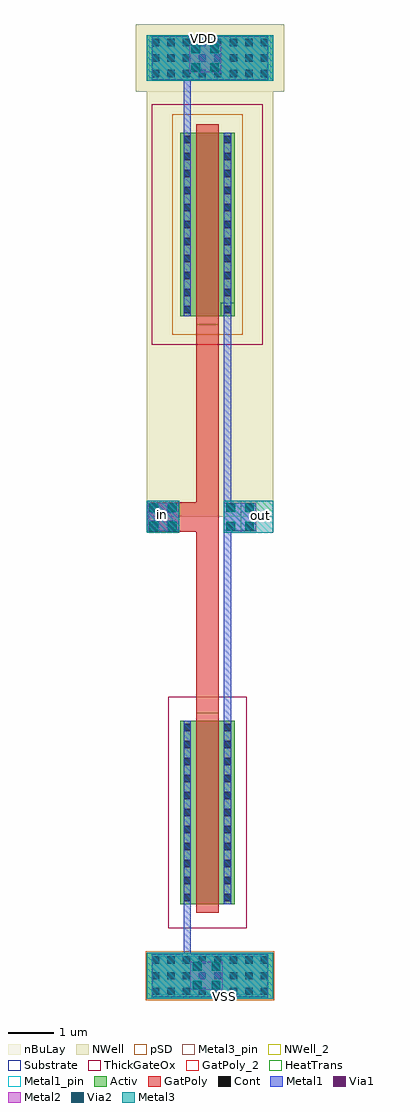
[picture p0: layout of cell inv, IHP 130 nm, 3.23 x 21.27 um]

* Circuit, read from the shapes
.subckt inv VDD VSS in out
XM1 out in VSS VSS sg13_hv_nmos w=4u l=0.5u
XM2 out in VDD VDD sg13_hv_pmos w=4u l=0.5u
.ends

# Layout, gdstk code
import gdstk
lib = gdstk.Library(unit=1e-6, precision=1e-09)
def R(c, l, rs):  # rectangles x0, y0, x1, y1
    for r in rs: c.add(gdstk.rectangle(r[:2], r[2:], *l))
def A(c, l, x, y, w, h, nx, ny, dx, dy):  # array of equal rectangles
    R(c, l, [(x+i*dx, y+j*dy, x+i*dx+w, y+j*dy+h) for i in range(nx) for j in range(ny)])
Activ = (1, 0)
GatPoly = (5, 0)
GatPoly_2 = (5, 2)
Cont = (6, 0)
Metal1 = (8, 0)
Metal1_pin = (8, 2)
Metal2 = (10, 0)
pSD = (14, 0)
Via1 = (19, 0)
Via2 = (29, 0)
Metal3 = (30, 0)
Metal3_pin = (30, 2)
NWell = (31, 0)
NWell_2 = (31, 2)
nBuLay = (32, 0)
Substrate = (40, 0)
ThickGateOx = (44, 0)
HeatTrans = (51, 0)

nmoshv_1 = lib.new_cell('nmosHV$1')
R(nmoshv_1, Activ, [(0,0,0.3,0.3), (0,0,1.18,4), (0.88,0,1.18,0.3)])
R(nmoshv_1, GatPoly, [(0.34,-0.18,0.84,4.18)])
R(nmoshv_1, GatPoly_2, [(0.34,-0.18,0.84,4.18)])
A(nmoshv_1, Cont, 0.07, 0.07, 0.16, 0.16, 1, 11, 0, 0.37)
A(nmoshv_1, Cont, 0.95, 0.07, 0.16, 0.16, 1, 11, 0, 0.37)
R(nmoshv_1, Metal1, [(0.07,0,0.23,4), (0.95,0,1.11,4)])
R(nmoshv_1, Metal1_pin, [(0.07,0,0.23,4), (0.95,0,1.11,4)])
R(nmoshv_1, ThickGateOx, [(-0.27,-0.52,1.45,4.52)])
R(nmoshv_1, HeatTrans, [(0.34,-0.18,0.84,4.18)])
nmoshv_1.add(gdstk.Label('nmosHV', (0.59,2), layer=63, texttype=0))
nmoshv_1.add(gdstk.Label('nmosHV', (0.59,2), layer=51, texttype=0))

pmoshv_1 = lib.new_cell('pmosHV$1')
R(pmoshv_1, Activ, [(0,0,0.3,0.3), (0,0,1.18,4), (0.88,0,1.18,0.3)])
R(pmoshv_1, GatPoly, [(0.34,-0.18,0.84,4.18)])
R(pmoshv_1, GatPoly_2, [(0.34,-0.18,0.84,4.18)])
A(pmoshv_1, Cont, 0.07, 0.07, 0.16, 0.16, 1, 11, 0, 0.37)
A(pmoshv_1, Cont, 0.95, 0.07, 0.16, 0.16, 1, 11, 0, 0.37)
R(pmoshv_1, Metal1, [(0.07,0,0.23,4), (0.95,0,1.11,4)])
R(pmoshv_1, Metal1_pin, [(0.07,0,0.23,4), (0.95,0,1.11,4)])
R(pmoshv_1, pSD, [(-0.18,-0.4,1.36,4.4)])
R(pmoshv_1, NWell, [(-0.62,-0.62,1.8,4.62)])
R(pmoshv_1, Substrate, [(0.88,0,1.18,0.3)])
R(pmoshv_1, ThickGateOx, [(-0.62,-0.62,1.8,4.62)])
R(pmoshv_1, HeatTrans, [(0.34,-0.18,0.84,4.18)])
pmoshv_1.add(gdstk.Label('pmosHV', (0.59,2), layer=63, texttype=0))
pmoshv_1.add(gdstk.Label('pmos', (0.59,2), layer=51, texttype=0))

ntap1_2 = lib.new_cell('ntap1$2')
R(ntap1_2, Activ, [(0,0,2.75,1)])
A(ntap1_2, Cont, 0.105, 0.08, 0.16, 0.16, 8, 3, 0.34, 0.34)
R(ntap1_2, Metal1, [(0.105,0.03,2.645,0.97)])
R(ntap1_2, Metal1_pin, [(0.105,0.03,2.645,0.97), (0.105,0.08,2.645,0.92)])
R(ntap1_2, NWell, [(-0.24,-0.24,2.99,1.24), (0,0,2.75,1)])
R(ntap1_2, NWell_2, [(0,0,2.75,1)])
R(ntap1_2, nBuLay, [(-0.24,-0.24,2.99,1.24)])
ntap1_2.add(gdstk.Label('well', (1.375,0.01), layer=31, texttype=0))
ntap1_2.add(gdstk.Label('well', (1.375,0.01), layer=63, texttype=0))

ptap1_1 = lib.new_cell('ptap1$1')
R(ptap1_1, Activ, [(0,0,2.75,1)])
A(ptap1_1, Cont, 0.105, 0.08, 0.16, 0.16, 8, 3, 0.34, 0.34)
R(ptap1_1, Metal1, [(0.105,0.03,2.645,0.97), (0.105,0.08,2.645,0.92)])
R(ptap1_1, Metal1_pin, [(0.105,0.08,2.645,0.92)])
R(ptap1_1, pSD, [(-0.03,-0.03,2.78,1.03)])
R(ptap1_1, Substrate, [(0,0,2.75,1)])
ptap1_1.add(gdstk.Label('sub!', (1.375,0.01), layer=63, texttype=0))
ptap1_1.add(gdstk.Label('sub!', (1.375,0.01), layer=40, texttype=0))

via_stack_9 = lib.new_cell('via_stack$9')
R(via_stack_9, GatPoly, [(-0.32,-0.32,0.32,0.32)])
R(via_stack_9, Cont, [(-0.25,-0.25,-0.09,-0.09), (0.09,-0.25,0.25,-0.09), (-0.25,0.09,-0.09,0.25), (0.09,0.09,0.25,0.25)])
R(via_stack_9, Metal1, [(-0.35,-0.31,0.35,0.31)])
R(via_stack_9, Metal2, [(-0.35,-0.305,0.35,0.305)])
R(via_stack_9, Via1, [(-0.3,-0.3,-0.11,-0.11), (0.11,-0.3,0.3,-0.11), (-0.3,0.11,-0.11,0.3), (0.11,0.11,0.3,0.3)])
R(via_stack_9, Via2, [(-0.3,-0.3,-0.11,-0.11), (0.11,-0.3,0.3,-0.11), (-0.3,0.11,-0.11,0.3), (0.11,0.11,0.3,0.3)])
R(via_stack_9, Metal3, [(-0.35,-0.305,0.35,0.305)])

via_stack_20 = lib.new_cell('via_stack$20')
R(via_stack_20, Metal1, [(-0.35,-0.31,0.35,0.31)])
R(via_stack_20, Metal2, [(-0.35,-0.305,0.35,0.305)])
R(via_stack_20, Via1, [(-0.3,-0.3,-0.11,-0.11), (0.11,-0.3,0.3,-0.11), (-0.3,0.11,-0.11,0.3), (0.11,0.11,0.3,0.3)])
R(via_stack_20, Via2, [(-0.3,-0.3,-0.11,-0.11), (0.11,-0.3,0.3,-0.11), (-0.3,0.11,-0.11,0.3), (0.11,0.11,0.3,0.3)])
R(via_stack_20, Metal3, [(-0.35,-0.305,0.35,0.305)])

inv = lib.new_cell('inv')
R(inv, GatPoly, [(1.07,5.48,1.57,14.495), (0.03,9.68,1.07,10.32)])
R(inv, Metal1, [(0.8,-0.25,0.96,5.555), (1.68,1.555,1.84,18.37), (0.8,14.37,0.96,20.25)])
R(inv, Metal3, [(0,-0.5,2.75,0.5), (0,9.65,0.7,10.35), (0,19.5,2.75,20.5)])
R(inv, Metal3_pin, [(0,-0.5,2.75,0.5), (0,9.65,0.7,10.35), (2.05,9.65,2.75,10.35), (0,19.5,2.75,20.5)])
R(inv, NWell, [(0,10,2.75,20)])
inv.add(gdstk.FlexPath([(1.68,10),(2.75,10),(2.75,10)], 0.7, ends="flush", simple_path=True, layer=30, datatype=0))  # Metal3
inv.add(gdstk.Reference(nmoshv_1, (0.73,1.555)))
inv.add(gdstk.Reference(pmoshv_1, (0.73,14.37)))
inv.add(gdstk.Reference(ntap1_2, (0,19.5)))
inv.add(gdstk.Reference(ptap1_1, (0,-0.5)))
inv.add(gdstk.Reference(via_stack_9, (0.35,10)))
inv.add(gdstk.Reference(via_stack_20, (2.03,10)))
inv.add(gdstk.Reference(via_stack_20, (1.27,19.995)))
inv.add(gdstk.Reference(via_stack_20, (1.3,0)))
inv.add(gdstk.Label('out', (2.465,10.02), layer=30, texttype=25))
inv.add(gdstk.Label('in', (0.35,10.04), layer=30, texttype=25))
inv.add(gdstk.Label('VDD', (1.234,20.419), layer=30, texttype=25))
inv.add(gdstk.Label('VSS', (1.698,-0.452), layer=30, texttype=25))

lib.write_gds('inv.gds')
